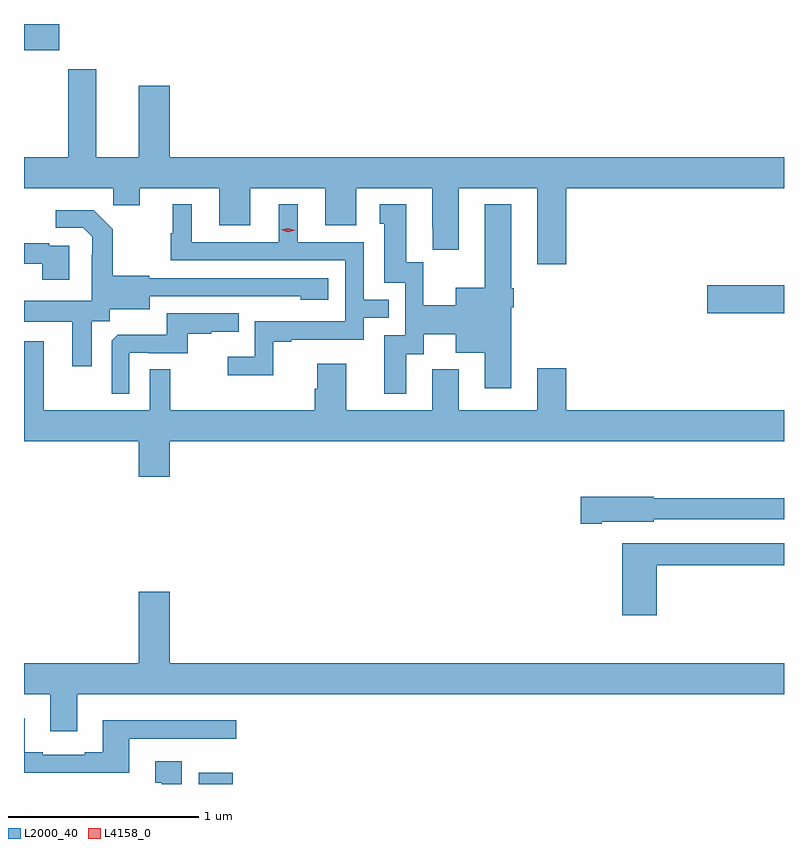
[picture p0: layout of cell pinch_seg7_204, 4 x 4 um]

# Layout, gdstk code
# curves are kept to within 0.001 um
import gdstk
lib = gdstk.Library(unit=1e-6, precision=1e-09)
def R(c, l, rs):  # rectangles x0, y0, x1, y1
    for r in rs: c.add(gdstk.rectangle(r[:2], r[2:], *l))
def P(c, l, *ps):  # polygons
    for p in ps: c.add(gdstk.Polygon(p, *l))
L2000_40 = (2000, 40)
L4158_0 = (4158, 0)

pinch_seg7_204 = lib.new_cell('pinch_seg7_204')
R(pinch_seg7_204, L2000_40, [(716.771,1025.452,716.95,1025.512), (719.448,1027.93,719.852,1028.078), (715.852,1029.314,716.038,1029.452)])
P(pinch_seg7_204, L2000_40, [(718.706,1028.588),(719.852,1028.588),(719.852,1028.752),(716.62,1028.752),(716.62,1029.127),(716.456,1029.127),(716.456,1028.752),(716.233,1028.752),(716.233,1029.214),(716.086,1029.214),(716.086,1028.752),(715.852,1028.752),(715.852,1028.588),(716.323,1028.588),(716.323,1028.498),(716.461,1028.498),(716.461,1028.588),(716.879,1028.588),(716.879,1028.394),(717.043,1028.394),(717.043,1028.588),(717.437,1028.588),(717.437,1028.394),(717.601,1028.394),(717.601,1028.588),(718.001,1028.588),(718.001,1028.377),(718.002,1028.377),(718.002,1028.265),(718.141,1028.265),(718.141,1028.588),(718.553,1028.588),(718.553,1028.187),(718.706,1028.187)],
  [(717.865,1027.714),(717.955,1027.714),(717.955,1027.82),(718.124,1027.82),(718.124,1027.721),(718.277,1027.721),(718.277,1027.536),(718.417,1027.536),(718.417,1027.961),(718.43,1027.961),(718.43,1028.061),(718.417,1028.061),(718.417,1028.503),(718.277,1028.503),(718.277,1028.065),(718.124,1028.065),(718.124,1027.972),(717.954,1027.972),(717.954,1028.199),(717.865,1028.199),(717.865,1028.503),(717.725,1028.503),(717.725,1028.4),(717.749,1028.4),(717.749,1028.091),(717.858,1028.091),(717.858,1027.815),(717.749,1027.815),(717.749,1027.506),(717.865,1027.506)],
  [(717.165,1027.779),(717.259,1027.779),(717.259,1027.791),(717.639,1027.791),(717.639,1027.905),(717.773,1027.905),(717.773,1028.001),(717.639,1028.001),(717.639,1028.304),(717.292,1028.304),(717.292,1028.503),(717.194,1028.503),(717.194,1028.304),(716.734,1028.304),(716.734,1028.503),(716.636,1028.503),(716.636,1028.352),(716.625,1028.352),(716.625,1028.208),(717.543,1028.208),(717.543,1027.887),(717.066,1027.887),(717.066,1027.702),(716.925,1027.702),(716.925,1027.603),(717.165,1027.603)],
  [(716.209,1027.888),(716.304,1027.888),(716.304,1027.952),(716.515,1027.952),(716.515,1028.019),(717.309,1028.018),(717.309,1028),(717.454,1028),(717.454,1028.115),(716.511,1028.115),(716.511,1028.128),(716.319,1028.128),(716.319,1028.373),(716.219,1028.473),(716.019,1028.473),(716.019,1028.379),(716.163,1028.379),(716.21,1028.332),(716.21,1028.237),(716.208,1028.237),(716.208,1027.996),(715.852,1027.996),(715.852,1027.886),(716.105,1027.886),(716.105,1027.65),(716.209,1027.65)],
  [(716.089,1028.286),(715.985,1028.286),(715.985,1028.299),(715.853,1028.299),(715.853,1028.288),(715.852,1028.288),(715.852,1028.19),(715.949,1028.19),(715.949,1028.106),(716.089,1028.106)],
  [(716.406,1027.722),(716.506,1027.722),(716.506,1027.719),(716.714,1027.719),(716.714,1027.821),(716.837,1027.821),(716.837,1027.832),(716.981,1027.832),(716.981,1027.929),(716.604,1027.929),(716.604,1027.817),(716.345,1027.817),(716.313,1027.785),(716.313,1027.505),(716.406,1027.505)],
  [(716.62,1027.256),(719.852,1027.256),(719.852,1027.42),(718.706,1027.42),(718.706,1027.639),(718.553,1027.639),(718.553,1027.42),(718.141,1027.42),(718.141,1027.636),(718.001,1027.636),(718.001,1027.42),(717.547,1027.42),(717.547,1027.663),(717.395,1027.663),(717.395,1027.533),(717.383,1027.533),(717.383,1027.42),(716.623,1027.42),(716.623,1027.634),(716.514,1027.634),(716.514,1027.42),(715.957,1027.42),(715.957,1027.783),(715.852,1027.783),(715.852,1027.256),(716.456,1027.256),(716.456,1027.068),(716.62,1027.068)],
  [(718.894,1026.833),(719.166,1026.833),(719.166,1026.846),(719.852,1026.846),(719.852,1026.955),(719.166,1026.955),(719.166,1026.963),(718.782,1026.963),(718.782,1026.821),(718.894,1026.821)],
  [(719.183,1026.604),(719.852,1026.604),(719.852,1026.72),(719,1026.72),(719,1026.339),(719.183,1026.339)],
  [(716.131,1025.924),(719.852,1025.924),(719.852,1026.088),(716.62,1026.088),(716.62,1026.463),(716.456,1026.463),(716.456,1026.088),(715.852,1026.088),(715.852,1025.924),(715.991,1025.924),(715.991,1025.73),(716.131,1025.73)],
  [(716.407,1025.691),(716.968,1025.691),(716.968,1025.788),(716.267,1025.788),(716.267,1025.62),(716.171,1025.62),(716.171,1025.607),(715.951,1025.607),(715.951,1025.62),(715.855,1025.62),(715.855,1025.797),(715.852,1025.797),(715.852,1025.51),(716.407,1025.51)],
  [(716.683,1025.572),(716.543,1025.572),(716.543,1025.459),(716.576,1025.459),(716.576,1025.452),(716.683,1025.452)])
P(pinch_seg7_204, L4158_0, [(717.243,1028.357),(717.207,1028.368),(717.207,1028.368),(717.207,1028.368),(717.243,1028.377),(717.278,1028.366),(717.279,1028.366),(717.278,1028.366)])

lib.write_gds('pinch_seg7_204.gds')
